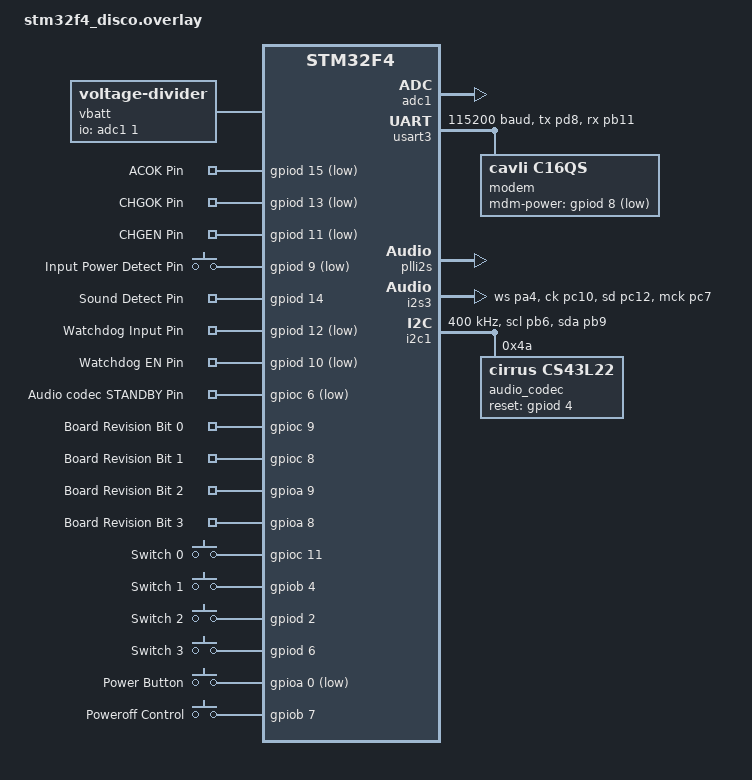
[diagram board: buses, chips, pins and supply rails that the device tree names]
&adc1 {
    st,adc-prescaler = <2>;
    status = "okay";
};

/ {
    vbatt {
        compatible = "voltage-divider";
        io-channels = <&adc1 1>; //adc1_in1_pa1 PA15
        output-ohms = <10000>;
        full-ohms = <(68000 + 10000)>;
    };
};

/  {
    charger_pins: charger_pins {
        compatible = "gpio-keys";

        acok_gpios: acok_gpios {
            gpios = <&gpiod 15 (GPIO_ACTIVE_LOW)>; //PD15
            label = "ACOK Pin";
        };

        chgok_gpios: chgok_gpios {
            gpios = <&gpiod 13 (GPIO_ACTIVE_LOW)>; //PD13
            label = "CHGOK Pin";
        };
        chgen_gpios: chgen_gpios {
            gpios = <&gpiod 11 (GPIO_ACTIVE_LOW)>; //PD11
            label = "CHGEN Pin";
        };
        input_power_gpios: input_power_gpios {
            gpios = <&gpiod 9 (GPIO_ACTIVE_LOW)>; //PD9
            label = "Input Power Detect Pin";
        };
    };

    aliases {
        acok = &acok_gpios;
        chgok = &chgok_gpios;
        chgen = &chgen_gpios;
        inputp = &input_power_gpios;
    };
};

/ {
    aliases {
        modem = &modem;
    };
};

&usart3 {
    current-speed = <115200>;
    // hw-flow-control;
    pinctrl-names = "default";
    status = "okay";

    pinctrl-0 = <&usart3_tx_pd8 &usart3_rx_pb11>;

    modem: modem {
        compatible = "cavli,c16qs";
        status = "okay";
        mdm-power-gpios = <&gpiod 8 GPIO_ACTIVE_LOW>; //PD8
    };
};


/  {
    microphone_pin: microphone_pin {
        compatible = "gpio-keys";

        microphone_gpio: microphone_gpio {
            gpios = <&gpiod 14 (GPIO_ACTIVE_HIGH)>; //PD14
            label = "Sound Detect Pin";
        };
    };

    aliases {
        microphone = &microphone_gpio;
    };
};

/  {
    watchdog_pins: watchdog_pins {
        compatible = "gpio-keys";

        wdi_gpios: wdi_gpios {
            gpios = <&gpiod 12 (GPIO_ACTIVE_LOW)>; //PD12
            label = "Watchdog Input Pin";
        };

        wden_gpios: wden_gpios {
            gpios = <&gpiod 10 (GPIO_ACTIVE_LOW)>; //PD10
            label = "Watchdog EN Pin";
        };
    };

    aliases {
        wdi = &wdi_gpios;
        wden = &wden_gpios;
    };
};


&usart1 {
    pinctrl-0 = <>;
    status = "disabled";
};


&dma1 {
    status = "okay";
};

&plli2s {
    /* Minimize audio clock error (with i2s mck-enabled) for all of:
     * - 22.05kHz / 16b, 24b or 32b
     * - 44.1kHz  / 16b, 24b or 32b
     * - 88.2kHz  / 16b or 24b
     * Note: because the PLLI2S is dependent on the main PLL, the latter
     *       should not be changed without checking impact on PLLI2S
     */
    mul-n = <271>;
    div-r = <2>;
    status = "okay";
};

&i2s3 {
    mck-enabled;
    pinctrl-0 = <&i2s3_ws_pa4 &i2s3_ck_pc10 &i2s3_sd_pc12 &i2s3_mck_pc7>;
    pinctrl-names = "default";
    clocks = <&rcc STM32_CLOCK(APB1, 15U)>,
             <&rcc STM32_SRC_PLLI2S_R I2S_SEL(0)>;
    status = "okay";
};

&i2c1 {
    clock-frequency = <I2C_BITRATE_FAST>;
    pinctrl-0 = <&i2c1_scl_pb6 &i2c1_sda_pb9>;
    pinctrl-names = "default";
    status = "okay";

    audio_codec: cs43l22@4a {
        compatible = "cirrus,cs43l22";
        reg = <0x4a>;
        reset-gpios = <&gpiod 4 0>;
    };
};

/ {
    aliases {
        i2s-codec-tx = &i2s3;
    };
};

/  {
    audio_codec_gpio: audio_codec_gpio {
        compatible = "gpio-keys";

        codec_standby_gpios: codec_standby_gpios {
            gpios = <&gpioc 6 (GPIO_ACTIVE_LOW)>;            //PC6

            label = "Audio codec STANDBY Pin";
        };
    };

    aliases {
        codec-standby-pin = &codec_standby_gpios;
    };
};

/ {
    board_rev_pins: board_rev_pins {
        compatible = "gpio-keys";

        rev0_gpio: rev0_gpio {
            gpios = <&gpioc 9 (GPIO_PULL_DOWN | GPIO_ACTIVE_HIGH)>; // PC9
            label = "Board Revision Bit 0";
        };

        rev1_gpio: rev1_gpio {
            gpios = <&gpioc 8 (GPIO_PULL_DOWN | GPIO_ACTIVE_HIGH)>; // PC8
            label = "Board Revision Bit 1";
        };

        rev2_gpio: rev2_gpio {
            gpios = <&gpioa 9 (GPIO_PULL_DOWN | GPIO_ACTIVE_HIGH)>; // PA9
            label = "Board Revision Bit 2";
        };

        rev3_gpio: rev3_gpio {
            gpios = <&gpioa 8 (GPIO_PULL_DOWN | GPIO_ACTIVE_HIGH)>; // PA8
            label = "Board Revision Bit 3";
        };
    };

    aliases {
        rev0 = &rev0_gpio;
        rev1 = &rev1_gpio;
        rev2 = &rev2_gpio;
        rev3 = &rev3_gpio;
    };
};


/ {
    switches: switches {
        compatible = "gpio-keys";

        switch0: switch0 {
            gpios = <&gpioc 11 (GPIO_PULL_DOWN | GPIO_ACTIVE_HIGH)>; //PC11
            label = "Switch 0";
        };
        switch1: switch1 {
            gpios = <&gpiob 4 (GPIO_PULL_DOWN | GPIO_ACTIVE_HIGH)>;    //PB4
            label = "Switch 1";
        };
        switch2: switch2 {
            gpios = <&gpiod 2 (GPIO_PULL_DOWN | GPIO_ACTIVE_HIGH)>; //PD2
            label = "Switch 2";
        };
        switch3: switch3 {
            gpios = <&gpiod 6 (GPIO_PULL_DOWN | GPIO_ACTIVE_HIGH)>; //PD6
            label = "Switch 3";
        };
    };

    aliases {
        switch0 = &switch0;
        switch1 = &switch1;
        switch2 = &switch2;
        switch3 = &switch3;
    };
};

/ {
    power_sw: power_sw {
        compatible = "gpio-keys";
        power_sw_gpio: power_sw_gpio {
            gpios = <&gpioa 0 GPIO_ACTIVE_LOW>; //PA0
            label = "Power Button";
        };

        poweroff_gpio: poweroff_gpio {

            gpios = <&gpiob 7 GPIO_ACTIVE_HIGH>; //PB7
            label = "Poweroff Control";
        };
    };


    aliases {
        power-sw = &power_sw_gpio;
        poweroff-gpio = &poweroff_gpio;
    };

    sw0 {
        status = "disabled";
    };
};




